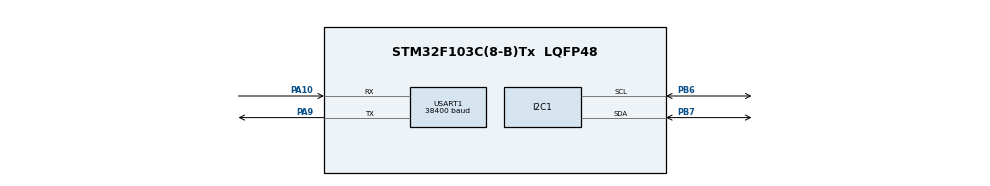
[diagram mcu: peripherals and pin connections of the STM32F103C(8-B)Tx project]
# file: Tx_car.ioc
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Mcu.Family=STM32F1
Mcu.Name=STM32F103C(8-B)Tx
Mcu.Package=LQFP48
NVIC.PriorityGroup=NVIC_PRIORITYGROUP_4
PA10.Mode=Asynchronous
PA10.Signal=USART1_RX
PA13.Mode=Serial_Wire
PA13.Signal=SYS_JTMS-SWDIO
PA14.Mode=Serial_Wire
PA14.Signal=SYS_JTCK-SWCLK
PA9.Mode=Asynchronous
PA9.Signal=USART1_TX
PB6.Mode=I2C
PB6.Signal=I2C1_SCL
PB7.Mode=I2C
PB7.Signal=I2C1_SDA
ProjectManager.HeapSize=0x200
ProjectManager.StackSize=0x400
ProjectManager.TargetToolchain=STM32CubeIDE
RCC.APB1Freq_Value=8000000
RCC.APB2Freq_Value=8000000
USART1.BaudRate=38400
USART1.VirtualMode=VM_ASYNC
board=custom

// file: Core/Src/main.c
/* USER CODE BEGIN Header */
/**
  ******************************************************************************
  * @file           : main.c
  * @brief          : Main program body
  ******************************************************************************
  * @attention
  *
  * Copyright (c) 2026 STMicroelectronics.
  * All rights reserved.
  *
  * This software is licensed under terms that can be found in the LICENSE file
  * in the root directory of this software component.
  * If no LICENSE file comes with this software, it is provided AS-IS.
  *
  ******************************************************************************
  */
/* USER CODE END Header */
#include "main.h"

/* USER CODE BEGIN Includes */
#include <string.h>

#include "kalman.h"
#include "mpu6050.h"
#include "control.h"
#include "hc05.h"
#include "protocol.h"
/* USER CODE END Includes */

I2C_HandleTypeDef hi2c1;

UART_HandleTypeDef huart1;

/* USER CODE BEGIN PV */
MPU6050_t mpu;

Kalman_t kalman_pitch;
Kalman_t kalman_roll;

Control_t control;

HC05_t hc05;

char tx_buffer[PROTOCOL_BUFFER_SIZE];

volatile float pitch_filtered = 0.0f;
volatile float roll_filtered = 0.0f;

volatile int16_t control_forward = 0;
volatile int16_t control_turn = 0;

uint32_t last_update_tick = 0;

volatile uint8_t at_rx[64] = {0};
volatile uint16_t at_rx_len = 0;
volatile HAL_StatusTypeDef at_tx_status;
/* USER CODE END PV */

void SystemClock_Config(void);
static void MX_GPIO_Init(void);
static void MX_I2C1_Init(void);
static void MX_USART1_UART_Init(void);

/* USER CODE BEGIN 0 */
static void HC05_AT_Command(const char *cmd)
{
    at_rx_len = 0;

    memset((void *)at_rx, 0, sizeof(at_rx));

    at_tx_status =
        HAL_UART_Transmit(&huart1,
                          (uint8_t *)cmd,
                          strlen(cmd),
                          100);

    while (at_rx_len < sizeof(at_rx) - 1)
    {
        uint8_t byte;

        if (HAL_UART_Receive(&huart1,
                             &byte,
                             1,
                             100) == HAL_OK)
        {
            at_rx[at_rx_len++] = byte;
        }
        else
        {
            break;
        }
    }
}
/* USER CODE END 0 */

int main(void)
{

  /* MCU Configuration--------------------------------------------------------*/

  /* Reset of all peripherals, Initializes the Flash interface and the Systick. */
  HAL_Init();

  /* Configure the system clock */
  SystemClock_Config();

  /* Initialize all configured peripherals */
  MX_GPIO_Init();
  MX_I2C1_Init();
  MX_USART1_UART_Init();
  /* USER CODE BEGIN 2 */

  HC05_Init(&hc05, &huart1);
  //HC05_AT_Command("AT+BIND=98D3,21,F875D3\r\n");
  /* Checkpoint 1 */
  {
      const uint8_t msg[] = "BOOT\r\n";
      HC05_Send(&hc05, msg, sizeof(msg) - 1);
  }

  HAL_Delay(500);

  if (MPU6050_Init(&mpu, &hi2c1) != MPU6050_OK)
  {
      const uint8_t msg[] = "MPU INIT ERROR\r\n";
      HC05_Send(&hc05, msg, sizeof(msg) - 1);

      Error_Handler();
  }

  /* Checkpoint 2 */
  {
      const uint8_t msg[] = "MPU INIT OK\r\n";
      HC05_Send(&hc05, msg, sizeof(msg) - 1);
  }

  HAL_Delay(500);

  if (MPU6050_Calibrate(&mpu) != MPU6050_OK)
  {
      const uint8_t msg[] = "CALIB ERROR\r\n";
      HC05_Send(&hc05, msg, sizeof(msg) - 1);

      Error_Handler();
  }

  /* Checkpoint 3 */
  {
      const uint8_t msg[] = "CALIB OK\r\n";
      HC05_Send(&hc05, msg, sizeof(msg) - 1);
  }

  Kalman_Init(&kalman_pitch);
  Kalman_Init(&kalman_roll);

  last_update_tick = HAL_GetTick();

  /* USER CODE END 2 */

  /* Infinite loop */
  while (1)
  {

    /* USER CODE BEGIN 3 */

    if (MPU6050_Read(&mpu) == MPU6050_OK)
    {
        uint32_t now = HAL_GetTick();

        float dt =
            (float)(now - last_update_tick) / 1000.0f;

        last_update_tick = now;

        /*
        * Protect Kalman from an invalid dt,
        * for example after debugging or a long pause.
        */
        if (dt <= 0.0f || dt > 0.1f)
        {
            dt = 0.01f;
        }

        pitch_filtered =
            Kalman_Update(&kalman_pitch,
                          mpu.pitch_acc,
                          mpu.gyro_y_dps,
                          dt);

        roll_filtered =
            Kalman_Update(&kalman_roll,
                          mpu.roll_acc,
                          mpu.gyro_x_dps,
                          dt);

        Control_Update(&control,
                      pitch_filtered,
                      roll_filtered);

        control_forward = control.forward;
        control_turn = control.turn;

        uint16_t tx_length = Protocol_Encode(control_forward, control_turn, tx_buffer, sizeof(tx_buffer));
        if (tx_length > 0)
        {
            HC05_Send(&hc05, (const uint8_t *)tx_buffer, tx_length);
        }

    }

    HAL_Delay(10);
    //HAL_Delay(1000);
  }
  /* USER CODE END 3 */
}

void SystemClock_Config(void)
{
  RCC_OscInitTypeDef RCC_OscInitStruct = {0};
  RCC_ClkInitTypeDef RCC_ClkInitStruct = {0};

  /** Initializes the RCC Oscillators according to the specified parameters
  * in the RCC_OscInitTypeDef structure.
  */
  RCC_OscInitStruct.OscillatorType = RCC_OSCILLATORTYPE_HSI;
  RCC_OscInitStruct.HSIState = RCC_HSI_ON;
  RCC_OscInitStruct.HSICalibrationValue = RCC_HSICALIBRATION_DEFAULT;
  RCC_OscInitStruct.PLL.PLLState = RCC_PLL_NONE;
  if (HAL_RCC_OscConfig(&RCC_OscInitStruct) != HAL_OK)
  {
    Error_Handler();
  }

  /** Initializes the CPU, AHB and APB buses clocks
  */
  RCC_ClkInitStruct.ClockType = RCC_CLOCKTYPE_HCLK|RCC_CLOCKTYPE_SYSCLK
                              |RCC_CLOCKTYPE_PCLK1|RCC_CLOCKTYPE_PCLK2;
  RCC_ClkInitStruct.SYSCLKSource = RCC_SYSCLKSOURCE_HSI;
  RCC_ClkInitStruct.AHBCLKDivider = RCC_SYSCLK_DIV1;
  RCC_ClkInitStruct.APB1CLKDivider = RCC_HCLK_DIV1;
  RCC_ClkInitStruct.APB2CLKDivider = RCC_HCLK_DIV1;

  if (HAL_RCC_ClockConfig(&RCC_ClkInitStruct, FLASH_LATENCY_0) != HAL_OK)
  {
    Error_Handler();
  }
}

static void MX_I2C1_Init(void)
{

  hi2c1.Instance = I2C1;
  hi2c1.Init.ClockSpeed = 100000;
  hi2c1.Init.DutyCycle = I2C_DUTYCYCLE_2;
  hi2c1.Init.OwnAddress1 = 0;
  hi2c1.Init.AddressingMode = I2C_ADDRESSINGMODE_7BIT;
  hi2c1.Init.DualAddressMode = I2C_DUALADDRESS_DISABLE;
  hi2c1.Init.OwnAddress2 = 0;
  hi2c1.Init.GeneralCallMode = I2C_GENERALCALL_DISABLE;
  hi2c1.Init.NoStretchMode = I2C_NOSTRETCH_DISABLE;
  if (HAL_I2C_Init(&hi2c1) != HAL_OK)
  {
    Error_Handler();
  }

}

static void MX_USART1_UART_Init(void)
{

  huart1.Instance = USART1;
  huart1.Init.BaudRate = 9600;
  huart1.Init.WordLength = UART_WORDLENGTH_8B;
  huart1.Init.StopBits = UART_STOPBITS_1;
  huart1.Init.Parity = UART_PARITY_NONE;
  huart1.Init.Mode = UART_MODE_TX_RX;
  huart1.Init.HwFlowCtl = UART_HWCONTROL_NONE;
  huart1.Init.OverSampling = UART_OVERSAMPLING_16;
  if (HAL_UART_Init(&huart1) != HAL_OK)
  {
    Error_Handler();
  }

}

static void MX_GPIO_Init(void)
{

  /* GPIO Ports Clock Enable */
  __HAL_RCC_GPIOA_CLK_ENABLE();
  __HAL_RCC_GPIOB_CLK_ENABLE();

}

void Error_Handler(void)
{
  __disable_irq();
  while (1)
  {
  }
}
